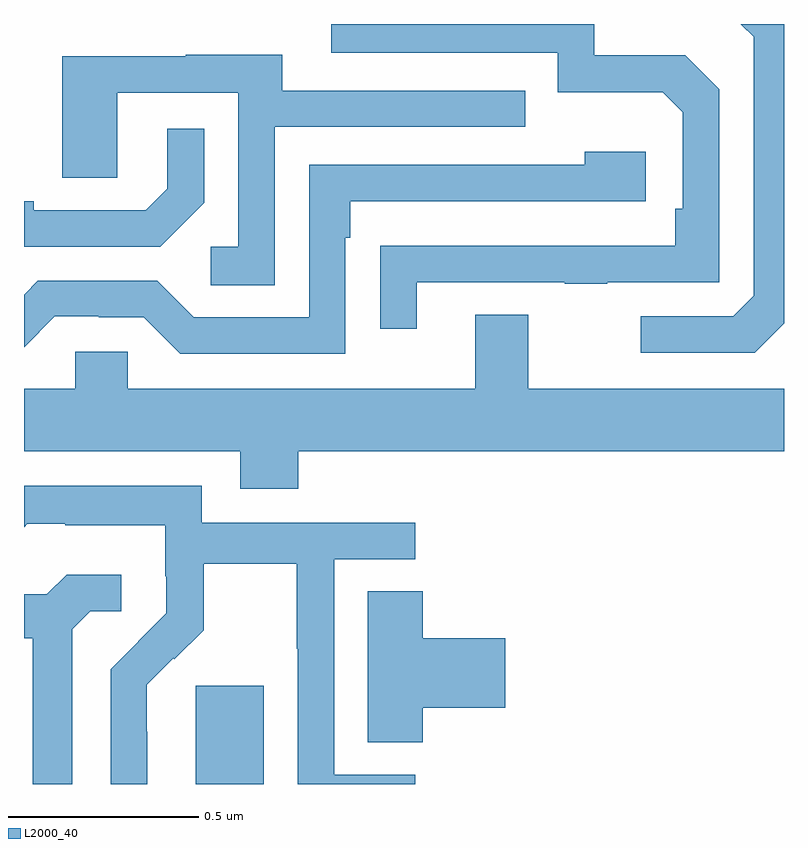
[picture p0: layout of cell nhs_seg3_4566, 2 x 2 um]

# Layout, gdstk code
import gdstk
lib = gdstk.Library(unit=1e-6, precision=1e-09)
def R(c, l, rs):  # rectangles x0, y0, x1, y1
    for r in rs: c.add(gdstk.rectangle(r[:2], r[2:], *l))
def P(c, l, *ps):  # polygons
    for p in ps: c.add(gdstk.Polygon(p, *l))
L2000_40 = (2000, 40)

nhs_seg3_4566 = lib.new_cell('nhs_seg3_4566')
R(nhs_seg3_4566, L2000_40, [(168.452,673.4,168.631,673.659)])
P(nhs_seg3_4566, L2000_40, [(170,674.612),(170,675.4),(169.886,675.4),(169.92,675.366),(169.92,674.685),(169.866,674.631),(169.623,674.631),(169.623,674.535),(169.923,674.535)],
  [(169.033,674.721),(169.423,674.721),(169.423,674.716),(169.535,674.716),(169.535,674.721),(169.83,674.721),(169.83,675.228),(169.74,675.318),(169.5,675.318),(169.5,675.4),(168.809,675.4),(168.809,675.324),(169.404,675.324),(169.404,675.221),(169.681,675.221),(169.734,675.168),(169.734,674.914),(169.714,674.914),(169.714,674.817),(169.039,674.817),(169.039,674.816),(168.937,674.816),(168.937,674.598),(169.033,674.598)],
  [(168.66,675.129),(169.319,675.129),(169.319,675.225),(168.679,675.225),(168.679,675.319),(168.425,675.319),(168.425,675.315),(168.101,675.315),(168.101,674.995),(168.246,674.995),(168.246,675.219),(168.564,675.219),(168.564,674.814),(168.492,674.814),(168.492,674.713),(168.66,674.713)],
  [(168.474,674.93),(168.474,675.124),(168.377,675.124),(168.377,674.967),(168.32,674.91),(168.025,674.91),(168.025,674.933),(168,674.933),(168,674.814),(168.358,674.814)],
  [(168.846,674.837),(168.859,674.837),(168.859,674.934),(169.636,674.934),(169.636,675.064),(169.475,675.064),(169.475,675.03),(168.75,675.03),(168.75,674.628),(168.447,674.628),(168.351,674.724),(168.036,674.724),(168,674.688),(168,674.55),(168.081,674.631),(168.197,674.631),(168.197,674.628),(168.315,674.628),(168.411,674.532),(168.846,674.532)],
  [(168.722,674.276),(170,674.276),(170,674.44),(169.327,674.44),(169.327,674.635),(169.187,674.635),(169.187,674.44),(168.273,674.44),(168.273,674.538),(168.135,674.538),(168.135,674.44),(168,674.44),(168,674.276),(168.569,674.276),(168.569,674.177),(168.722,674.177)],
  [(168.324,673.538),(168.323,673.538),(168.323,673.661),(168.393,673.731),(168.396,673.728),(168.473,673.805),(168.473,673.98),(168.718,673.98),(168.718,673.756),(168.72,673.756),(168.72,673.4),(169.03,673.4),(169.03,673.425),(168.816,673.425),(168.816,673.992),(169.03,673.992),(169.03,674.088),(168.468,674.088),(168.468,674.185),(168,674.185),(168,674.076),(168.009,674.085),(168.109,674.085),(168.109,674.081),(168.372,674.081),(168.372,673.947),(168.374,673.947),(168.374,673.85),(168.3,673.776),(168.301,673.775),(168.228,673.702),(168.228,673.4),(168.324,673.4)],
  [(168.127,673.807),(168.174,673.854),(168.256,673.854),(168.256,673.951),(168.112,673.951),(168.06,673.899),(168,673.899),(168,673.784),(168.023,673.784),(168.023,673.4),(168.127,673.4)],
  [(169.049,673.601),(169.267,673.601),(169.267,673.784),(169.049,673.784),(169.049,673.907),(168.905,673.907),(168.905,673.51),(169.049,673.51)])

lib.write_gds('nhs_seg3_4566.gds')
